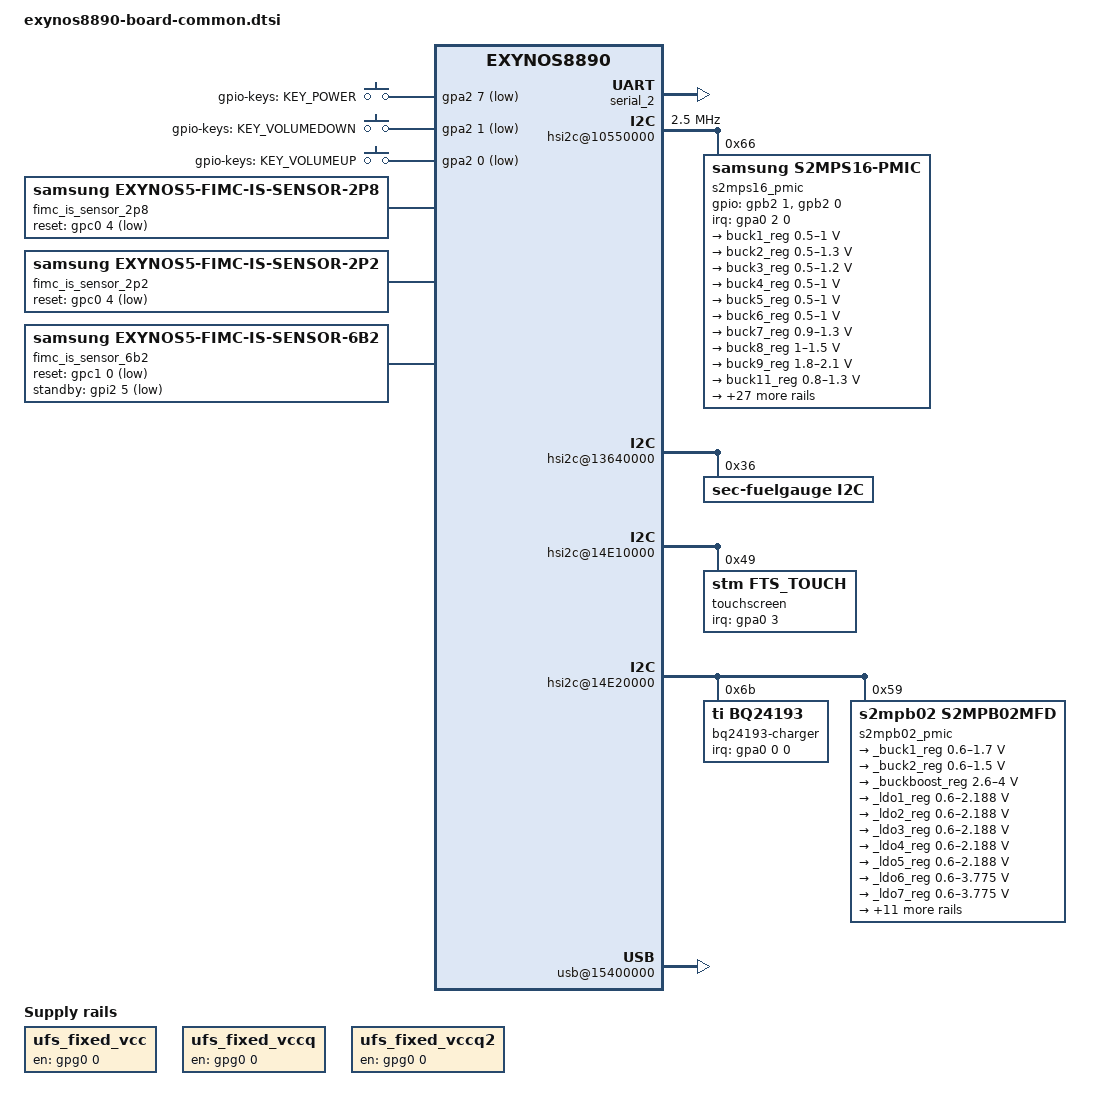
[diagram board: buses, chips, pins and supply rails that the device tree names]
/*
 * SAMSUNG EXYNOS8890 board device tree source
 *
 * Copyright (c) 2013 Samsung Electronics Co., Ltd.
 *		http://www.samsung.com
 *
 * This program is free software; you can redistribute it and/or modify
 * it under the terms of the GNU General Public License version 2 as
 * published by the Free Software Foundation.
*/
#include "exynos8890.dtsi"

/ {
	memory@80000000 {
		device_type = "memory";

		reg = <0x0 0x80000000 0x80000000>;
	};
	memory@880000000 {
		device_type = "memory";

		reg = <0x00000008 0x80000000 0x80000000>;
	};

	reserved-memory {
		#address-cells = <2>;
		#size-cells = <1>;
		ranges;

		common {
			compatible = "exynos5433-ion,common";
			reg = <0x0 0xE0000000 0x600000>;
			id = <0>;
		};

		video {
			compatible = "exynos5433-ion,video";
			secure;
			reg = <0x0 0xE0A00000 0xE400000>;
			id = <11>;
			compat-id = <4 5 6 7>;
		};

		mfc_fw {
			compatible = "exynos5433-ion,mfc_fw";
			secure;
			reg = <0x0 0xE0800000 0x200000>;
			id = <8>;
		};

		mfc_nfw {
			compatible = "exynos5433-ion,mfc_nfw";
			reg = <0x0 0xE0600000 0x200000>;
			id = <12>;
		};
	};

	tmuctrl_0: tmuctrl@10060000 {
		compatible = "samsung,exynos8890-tmu";
		reg = <0x0 0x10060000 0x200>;
		interrupts = <0 77 0>;
		max_trigger_level = <8>;
		non_hw_trigger_levels = <7>;

		/* Throttling Level */
		trigger_levels_0 = <66>;
		trigger_levels_1 = <71>;
		trigger_levels_2 = <76>;
		trigger_levels_3 = <81>;
		trigger_levels_4 = <86>;
		trigger_levels_5 = <91>;
		trigger_levels_6 = <96>;
		trigger_levels_7 = <115>;

		trigger_enable_0 = <ENABLE>;
		trigger_enable_1 = <ENABLE>;
		trigger_enable_2 = <ENABLE>;
		trigger_enable_3 = <ENABLE>;
		trigger_enable_4 = <ENABLE>;
		trigger_enable_5 = <ENABLE>;
		trigger_enable_6 = <ENABLE>;
		trigger_enable_7 = <ENABLE>;

		trigger_type_0 = <THROTTLE_ACTIVE>;
		trigger_type_1 = <THROTTLE_ACTIVE>;
		trigger_type_2 = <THROTTLE_ACTIVE>;
		trigger_type_3 = <THROTTLE_ACTIVE>;
		trigger_type_4 = <THROTTLE_ACTIVE>;
		trigger_type_5 = <THROTTLE_ACTIVE>;
		trigger_type_6 = <THROTTLE_ACTIVE>;
		trigger_type_7 = <HW_TRIP>;

		freq_tab_count = <3>;

		freq_clip_max_0 = <1560000>;
		freq_clip_max_1 = <1040000>;
		freq_clip_max_2 = <728000>;

		cooling_level_0 = <66>;
		cooling_level_1 = <71>;
		cooling_level_2 = <76>;

		hotplug_enable = <1>;
		hotplug_in_threshold = <75>;
		hotplug_out_threshold = <81>;
	};

	tmuctrl_1: tmuctrl@10064000 {
		compatible = "samsung,exynos8890-tmu";
		reg = <0x0 0x10064000 0x200>;
		interrupts = <0 75 0>;
		max_trigger_level = <8>;
		non_hw_trigger_levels = <7>;

		/* Throttling Level */
		trigger_levels_0 = <66>;
		trigger_levels_1 = <76>;
		trigger_levels_2 = <81>;
		trigger_levels_3 = <86>;
		trigger_levels_4 = <91>;
		trigger_levels_5 = <96>;
		trigger_levels_6 = <101>;
		trigger_levels_7 = <115>;

		trigger_enable_0 = <ENABLE>;
		trigger_enable_1 = <ENABLE>;
		trigger_enable_2 = <ENABLE>;
		trigger_enable_3 = <ENABLE>;
		trigger_enable_4 = <ENABLE>;
		trigger_enable_5 = <ENABLE>;
		trigger_enable_6 = <ENABLE>;
		trigger_enable_7 = <ENABLE>;

		trigger_type_0 = <THROTTLE_ACTIVE>;
		trigger_type_1 = <THROTTLE_ACTIVE>;
		trigger_type_2 = <THROTTLE_ACTIVE>;
		trigger_type_3 = <THROTTLE_ACTIVE>;
		trigger_type_4 = <THROTTLE_ACTIVE>;
		trigger_type_5 = <THROTTLE_ACTIVE>;
		trigger_type_6 = <THROTTLE_ACTIVE>;
		trigger_type_7 = <HW_TRIP>;

		freq_tab_count = <4>;

		freq_clip_max_0 = <1274000>;
		freq_clip_max_1 = <1170000>;
		freq_clip_max_2 = <962000>;
		freq_clip_max_3 = <442000>;

		cooling_level_0 = <66>;
		cooling_level_1 = <76>;
		cooling_level_2 = <81>;
		cooling_level_3 = <86>;
	};

	tmuctrl_2: tmuctrl@10068000 {
		compatible = "samsung,exynos8890-tmu";
		reg = <0x0 0x10068000 0x200>;
		interrupts = <0 78 0>;
		max_trigger_level = <8>;
		non_hw_trigger_levels = <7>;

		/* Throttling Level */
		trigger_levels_0 = <66>;
		trigger_levels_1 = <71>;
		trigger_levels_2 = <76>;
		trigger_levels_3 = <81>;
		trigger_levels_4 = <86>;
		trigger_levels_5 = <91>;
		trigger_levels_6 = <96>;
		trigger_levels_7 = <115>;

		trigger_enable_0 = <ENABLE>;
		trigger_enable_1 = <ENABLE>;
		trigger_enable_2 = <ENABLE>;
		trigger_enable_3 = <ENABLE>;
		trigger_enable_4 = <ENABLE>;
		trigger_enable_5 = <ENABLE>;
		trigger_enable_6 = <ENABLE>;
		trigger_enable_7 = <ENABLE>;

		trigger_type_0 = <THROTTLE_ACTIVE>;
		trigger_type_1 = <THROTTLE_ACTIVE>;
		trigger_type_2 = <THROTTLE_ACTIVE>;
		trigger_type_3 = <THROTTLE_ACTIVE>;
		trigger_type_4 = <THROTTLE_ACTIVE>;
		trigger_type_5 = <THROTTLE_ACTIVE>;
		trigger_type_6 = <THROTTLE_ACTIVE>;
		trigger_type_7 = <HW_TRIP>;

		freq_tab_count = <6>;

		freq_clip_max_0 = <600000>;
		freq_clip_max_1 = <600000>;
		freq_clip_max_2 = <546000>;
		freq_clip_max_3 = <419000>;
		freq_clip_max_4 = <260000>;
		freq_clip_max_5 = <260000>;

		cooling_level_0 = <66>;
		cooling_level_1 = <71>;
		cooling_level_2 = <76>;
		cooling_level_3 = <81>;
		cooling_level_4 = <86>;
		cooling_level_5 = <91>;

		/* gpu cooling related table */
		gpu_idx_num = <6>;
		/* flags, driver_data(index), frequency */
		gpu_cooling_table = < 0 0 600000
				      0 1 546000
				      0 2 419000
				      0 3 338000
				      0 4 260000
				      0 5 TABLE_END>;
	};

	tmuctrl_3: tmuctrl@1006C000 {
		compatible = "samsung,exynos8890-tmu";
		reg = <0x0 0x1006C000 0x200>;
		interrupts = <0 76 0>;
		max_trigger_level = <4>;
		non_hw_trigger_levels = <4>;

		/* Throttling Level */
		trigger_levels_0 = <86>;
		trigger_levels_1 = <91>;
		trigger_levels_2 = <96>;
		trigger_levels_3 = <100>;

		trigger_enable_0 = <ENABLE>;
		trigger_enable_1 = <ENABLE>;
		trigger_enable_2 = <ENABLE>;
		trigger_enable_3 = <ENABLE>;

		trigger_type_0 = <THROTTLE_ACTIVE>;
		trigger_type_1 = <THROTTLE_ACTIVE>;
		trigger_type_2 = <THROTTLE_ACTIVE>;
		trigger_type_3 = <THROTTLE_ACTIVE>;

		freq_tab_count = <3>;

		freq_clip_max_0 = <60>;
		freq_clip_max_1 = <15>;
		freq_clip_max_2 = <5>;

		cooling_level_0 = <86>;
		cooling_level_1 = <91>;
		cooling_level_2 = <96>;

		/* isp cooling related table */
		isp_idx_num = <7>;
		/* flags, driver_data(index), frequency */
		isp_cooling_table = < 0 0 63
				      0 1 62
				      0 2 61
				      0 3 60
				      0 4 15
				      0 5  5
				      0 6 TABLE_END>;
	};

	chosen {
		bootargs = "console=ram clk_ignore_unused ess_setup=0x86000000 pmic_info=3 androidboot.hardware=samsungexynos8890";
		linux,initrd-start = <0x82000000>;
		linux,initrd-end = <0x820FFFFF>;
	};

	fixed-rate-clocks {
		oscclk {
			compatible = "samsung,exynos8890-oscclk";
			clock-frequency = <26000000>;
		};
	};

	serial_2: uart@14C30000 {
		/* Enable UART channel for debug port */
		pinctrl-names = "default";
		pinctrl-0 = <&uart2_bus>;
		status = "okay";
	};

	pinctrl@136D0000 {
		g3d_dvs: g3d-dvs {
			samsung,pins = "gpb2-0";
			samsung,pin-function = <0x2>;
		};
	};

	pinctrl@14CC0000 {
		/* Warm reset information from AP */
		pm_wrsti: pm-wrsti {
			samsung,pins = "gpe6-7";
			samsung,pin-con-pdn = <3>;
		};
	};

	pinctrl@10580000 {
		key_power: key-power {
			samsung,pins = "gpa2-7";
			samsung,pin-function = <0xf>;
			samsung,pin-pud = <0>;
			samsung,pin-drv = <0>;
		};

		key_voldown: key-voldown {
			samsung,pins = "gpa2-1";
			samsung,pin-function = <0xf>;
			samsung,pin-pud = <0>;
			samsung,pin-drv = <0>;
		};

		key_volup: key-volup {
			samsung,pins = "gpa2-0";
			samsung,pin-function = <0xf>;
			samsung,pin-pud = <0>;
			samsung,pin-drv = <0>;
		};

		chg_irq: chg-irq {
			samsung,pins = "gpa0-0";
			samsung,pin-function = <0>;
			samsung,pin-pud = <3>;
			samsung,pin-drv = <3>;
		};

	};

	gpio_keys {
		compatible = "gpio-keys";
		#address-cells = <1>;
		#size-cells = <0>;
		pinctrl-names = "default";
		pinctrl-0 = <&key_power &key_voldown &key_volup>;
		button@1 {
			label = "gpio-keys: KEY_POWER";
			interrupts = <7 0 0>;
			interrupt-parent = <&gpa2>;
			linux,code = <116>;
			gpios = <&gpa2 7 0xf>;
			gpio-key,wakeup = <1>;
		};
		button@2 {
			label = "gpio-keys: KEY_VOLUMEDOWN";
			interrupts = <1 0 0>;
			interrupt-parent = <&gpa2>;
			linux,code = <114>;
			gpios = <&gpa2 1 0xf>;
		};
		button@3 {
			label = "gpio-keys: KEY_VOLUMEUP";
			interrupts = <0 0 0>;
			interrupt-parent = <&gpa2>;
			linux,code = <115>;
			gpios = <&gpa2 0 0xf>;
		};
	};

	pinctrl@10580000 {
		pmic_irq: pmic-irq {
			samsung,pins = "gpa0-2";
			samsung,pin-pud = <3>;
			samsung,pin-drv = <3>;
		};

	};

	hsi2c@10550000{
		status = "okay";
		samsung,hs-mode;
		clock-frequency = <2500000>;
		samsung,hsi2c-batcher;
		samsung,need-cs-enb;
		samsung,use-apm;
		samsung,apm-always-clkon;
		s2mps16_pmic@66 {
			compatible = "samsung,s2mps16-pmic";
			reg = <0x66>;
			interrupts = <2 0 0>;
			interrupt-parent = <&gpa0>;
			pinctrl-names = "default";
			ten-bit-address;
			pinctrl-0 = <&pmic_irq &pm_wrsti &g3d_dvs>;
			gpios = <&gpb2 1 0>, <&gpb2 0 0x2>;
			smpl_warn_en = <1>; /* 1 : enable , 0 : disable*/
			/* range of smpl_warn_vth */
			/* 0x00 : 2.1V, 0x20 : 2.3V, 0x40 : 2.5V, 0x60 : 2.7V 0x80 : 2.9V */
			/* 0xA0 : 3.1V, 0xC0 : 3.3V, 0xE0 : 3.5V */
			smpl_warn_vth = <0x80>;
			/* LowBat_Hys[4:3] 00(100mV), 01(200mV), 10(300mV), 11(400mV) */
			smpl_warn_hys = <0x00>;
			adc-on;
			buck_dvs_on;
			cache_data = <1>; /* 1: enable, 0 : disable */
			g3d_en = <1>; /* 1 : enable , 0 : disable */
			dvs_en = <1>; /* 1 : enable , 0 : disable */
			ldo8_7_seq = <0x25>;
			ldo10_9_seq = <0x61>;
			/* RTC: wtsr/smpl */
			wtsr_en = <1>; /* enable */
			smpl_en = <1>; /* enable */
			wtsr_timer_val = <3>;	/* 1000ms */
			smpl_timer_val = <4>;	/* 500ms */
			check_jigon = <0>; /* do not check jigon */
			/* RTC: If it's first boot, reset rtc to 1/1/2014 12:00:00(Wed) */
			init_time,sec = <0>;
			init_time,min = <0>;
			init_time,hour = <12>;
			init_time,mday = <1>;
			init_time,mon = <0>;
			init_time,year = <115>;
			init_time,wday = <4>;

			regulators {
				buck1_reg: BUCK1 {
					regulator-name = "vdd_mif";
					regulator-min-microvolt = <500000>;
					regulator-max-microvolt = <1000000>;
					regulator-always-on;
					regulator-ramp-delay = <12000>;
					regulator-initial-mode = <2>; /* controlled by PWREN_MIF */
				};

				buck2_reg: BUCK2 {
					regulator-name = "vdd_mngs";
					regulator-min-microvolt = <500000>;
					regulator-max-microvolt = <1300000>;
					regulator-always-on;
					regulator-ramp-delay = <11000>;
					regulator-initial-mode = <1>;
				};

				buck3_reg: BUCK3 {
					regulator-name = "vdd_apollo";
					regulator-min-microvolt = <500000>;
					regulator-max-microvolt = <1200000>;
					regulator-always-on;
					regulator-ramp-delay = <11000>;
					regulator-initial-mode = <1>;
				};

				buck4_reg: BUCK4 {
					regulator-name = "vdd_int";
					regulator-min-microvolt = <500000>;
					regulator-max-microvolt = <1000000>;
					regulator-always-on;
					regulator-ramp-delay = <12000>;
					regulator-initial-mode = <2>; /* controlled by PWREN_MIF */
				};

				buck5_reg: BUCK5 {
					regulator-name = "vdd_dispcam";
					regulator-min-microvolt = <500000>;
					regulator-max-microvolt = <1000000>;
					regulator-always-on;
					regulator-ramp-delay = <11000>;
					regulator-initial-mode = <2>; /* controlled by PWREN_MIF */
				};

				buck6_reg: BUCK6 {
					regulator-name = "vdd_g3d";
					regulator-min-microvolt = <500000>;
					regulator-max-microvolt = <1000000>;
					regulator-always-on;
					regulator-ramp-delay = <12000>;
					regulator-initial-mode = <1>;
				};

				buck7_reg: BUCK7 {
					regulator-name = "vdd_mem";
					regulator-min-microvolt = <900000>;
					regulator-max-microvolt = <1300000>;
					regulator-always-on;
					regulator-ramp-delay = <12000>;
					regulator-initial-mode = <3>;
				};

				buck8_reg: BUCK8 {
					regulator-name = "vdd_lldo";
					regulator-min-microvolt = <1000000>;
					regulator-max-microvolt = <1500000>;
					regulator-always-on;
					regulator-ramp-delay = <12000>;
					regulator-initial-mode = <3>;
				};

				buck9_reg: BUCK9 {
					regulator-name = "vdd_mldo";
					regulator-min-microvolt = <1800000>;
					regulator-max-microvolt = <2100000>;
					regulator-always-on;
					regulator-ramp-delay = <12000>;
					regulator-initial-mode = <3>;
				};

				buck11_reg: BUCK11 {
					regulator-name = "vdd_extra";
					regulator-min-microvolt = <800000>;
					regulator-max-microvolt = <1300000>;
					regulator-always-on;
					regulator-ramp-delay = <12000>;
					regulator-initial-mode = <1>;
				};

				ldo1_reg: LDO1 {
					regulator-name = "vdd_ldo1";
					regulator-min-microvolt = <500000>;
					regulator-max-microvolt = <900000>;
					regulator-ramp-delay = <12000>;
					regulator-initial-mode = <3>;
					regulator-always-on;
				};

				ldo2_reg: LDO2 {
					regulator-name = "vqmmc";
					regulator-min-microvolt = <1800000>;
					regulator-max-microvolt = <2800000>;
					regulator-ramp-delay = <12000>;
					regulator-initial-mode = <1>;
					regulator-always-on;
				};

				ldo3_reg: LDO3 {
					regulator-name = "vdd_ldo3";
					regulator-min-microvolt = <1620000>;
					regulator-max-microvolt = <1980000>;
					regulator-ramp-delay = <12000>;
					regulator-initial-mode = <3>;
					regulator-always-on;
				};

				ldo4_reg: LDO4 {
					regulator-name = "vdd_ldo4";
					regulator-min-microvolt = <800000>;
					regulator-max-microvolt = <1110000>;
					regulator-ramp-delay = <12000>;
					regulator-initial-mode = <1>;
					regulator-always-on;
				};

				ldo5_reg: LDO5 {
					regulator-name = "vdd_ldo5";
					regulator-min-microvolt = <1625000>;
					regulator-max-microvolt = <1975000>;
					regulator-ramp-delay = <12000>;
					regulator-always-on;
					regulator-initial-mode = <1>;
				};

				ldo6_reg: LDO6 {
					regulator-name = "vdd_ldo6";
					regulator-min-microvolt = <2250000>;
					regulator-max-microvolt = <3300000>;
					regulator-ramp-delay = <12000>;
					regulator-always-on;
					regulator-initial-mode = <1>;
				};

				ldo7_reg: LDO7 {
					regulator-name = "vdd_ldo7";
					regulator-min-microvolt = <700000>;
					regulator-max-microvolt = <1200000>;
					regulator-ramp-delay = <12000>;
					regulator-always-on;
					regulator-initial-mode = <1>;
				};

				ldo8_reg: LDO8 {
					regulator-name = "vdd_ldo8";
					regulator-min-microvolt = <700000>;
					regulator-max-microvolt = <1000000>;
					regulator-ramp-delay = <12000>;
					regulator-always-on;
					regulator-initial-mode = <1>;
				};

				ldo9_reg: LDO9 {
					regulator-name = "vdd_ldo9";
					regulator-min-microvolt = <700000>;
					regulator-max-microvolt = <1000000>;
					regulator-ramp-delay = <12000>;
					regulator-always-on;
					regulator-initial-mode = <1>;
				};

				ldo10_reg: LDO10 {
					regulator-name = "vdd_ldo10";
					regulator-min-microvolt = <700000>;
					regulator-max-microvolt = <1200000>;
					regulator-ramp-delay = <12000>;
					regulator-always-on;
					regulator-initial-mode = <1>;
				};

				ldo11_reg: LDO11 {
					regulator-name = "vdd_ldo11";
					regulator-min-microvolt = <700000>;
					regulator-max-microvolt = <1000000>;
					regulator-ramp-delay = <12000>;
					regulator-always-on;
					regulator-initial-mode = <1>;
				};

				ldo12_reg: LDO12 {
					regulator-name = "vdd_ldo12";
					regulator-min-microvolt = <1000000>;
					regulator-max-microvolt = <1300000>;
					regulator-ramp-delay = <12000>;
					regulator-always-on;
					regulator-initial-mode = <1>;
				};

				ldo13_reg: LDO13 {
					regulator-name = "vdd_ldo13";
					regulator-min-microvolt = <1000000>;
					regulator-max-microvolt = <1300000>;
					regulator-ramp-delay = <12000>;
					regulator-always-on;
					regulator-initial-mode = <1>;
				};

				ldo25_reg: LDO25 {
					regulator-name = "vdd_ldo25";
					regulator-min-microvolt = <700000>;
					regulator-max-microvolt = <1000000>;
					regulator-ramp-delay = <12000>;
					regulator-boot-on;
					regulator-always-on;
					regulator-initial-mode = <1>;
				};

				ldo26_reg: LDO26 {
					regulator-name = "vdd_ldo26";
					regulator-min-microvolt = <1000000>;
					regulator-max-microvolt = <1200000>;
					regulator-ramp-delay = <12000>;
					regulator-boot-on;
					regulator-always-on;
					regulator-initial-mode = <1>;
				};

				ldo27_reg: LDO27 {
					regulator-name = "vdd_ldo27";
					regulator-min-microvolt = <700000>;
					regulator-max-microvolt = <1300000>;
					regulator-ramp-delay = <12000>;
					regulator-boot-on;
					regulator-always-on;
					regulator-initial-mode = <1>;
				};

				ldo28_reg: LDO28 {
					regulator-name = "vdd_ldo28";
					regulator-min-microvolt = <1800000>;
					regulator-max-microvolt = <3375000>;
					regulator-ramp-delay = <12000>;
					regulator-always-on;
					regulator-initial-mode = <1>;
				};

				ldo29_reg: LDO29 {
					regulator-name = "vdd_ldo29";
					regulator-min-microvolt = <1800000>;
					regulator-max-microvolt = <3375000>;
					regulator-ramp-delay = <12000>;
					regulator-always-on;
					regulator-initial-mode = <1>;
				};

				ldo30_reg: LDO30 {
					regulator-name = "vdd_ldo30";
					regulator-min-microvolt = <1800000>;
					regulator-max-microvolt = <3375000>;
					regulator-ramp-delay = <12000>;
					regulator-always-on;
					regulator-initial-mode = <1>;
				};

				ldo31_reg: LDO31 {
					regulator-name = "vdd_ldo31";
					regulator-min-microvolt = <700000>;
					regulator-max-microvolt = <1300000>;
					regulator-ramp-delay = <12000>;
					regulator-always-on;
					regulator-initial-mode = <1>;
				};

				ldo32_reg: LDO32 {
					regulator-name = "vdd_ldo32";
					regulator-min-microvolt = <1500000>;
					regulator-max-microvolt = <2100000>;
					regulator-ramp-delay = <12000>;
					regulator-initial-mode = <0>;
				};

				ldo33_reg: LDO33 {
					regulator-name = "vdd_ldo33";
					regulator-min-microvolt = <1800000>;
					regulator-max-microvolt = <3375000>;
					regulator-ramp-delay = <12000>;
					regulator-initial-mode = <0>;
				};

				ldo34_reg: LDO34 {
					regulator-name = "vdd_ldo34";
					regulator-min-microvolt = <1800000>;
					regulator-max-microvolt = <3375000>;
					regulator-ramp-delay = <12000>;
					regulator-always-on;
					regulator-initial-mode = <1>;
				};

				ldo35_reg: LDO35 {
					regulator-name = "vdd_ldo35";
					regulator-min-microvolt = <1800000>;
					regulator-max-microvolt = <3375000>;
					regulator-ramp-delay = <12000>;
					regulator-always-on;
					regulator-initial-mode = <1>;
				};

				ldo36_reg: LDO36 {
					regulator-name = "vdd_ldo36";
					regulator-min-microvolt = <1500000>;
					regulator-max-microvolt = <2100000>;
					regulator-ramp-delay = <12000>;
					regulator-always-on;
					regulator-initial-mode = <1>;
				};

				ldo37_reg: LDO37 {
					regulator-name = "vdd_ldo37";
					regulator-min-microvolt = <1500000>;
					regulator-max-microvolt = <2100000>;
					regulator-ramp-delay = <12000>;
					regulator-always-on;
					regulator-initial-mode = <1>;
				};

				ldo38_reg: LDO38 {
					regulator-name = "vdd_ldo38";
					regulator-min-microvolt = <700000>;
					regulator-max-microvolt = <1300000>;
					regulator-ramp-delay = <12000>;
					regulator-always-on;
					regulator-initial-mode = <1>;
				};
			};
		};
	};

	pinctrl@10580000 {
		sub_pmic_irq: sub-pmic-irq {
			samsung,pins = "gpa3-7";
			samsung,pin-function = <0>;
			samsung,pin-pud = <0>;
			samsung,pin-drv = <0>;
		};
		fuel_irq: fuel-irq {
			samsung,pins = "gpa3-4";
			samsung,pin-function = <0>;
			samsung,pin-pud = <0>;
			samsung,pin-drv = <0>;
		};
	};

	ufs@0x155A0000 {
		status = "okay";
		ufs,pmd-attr-mode = "FAST";
		ufs,pmd-attr-lane = /bits/ 8 <1>;
		ufs,pmd-attr-gear = /bits/ 8 <3>;
		ufs,pmd-attr-hs-series = "HS_rate_b";
		ufs-opts-skip-connection-estab;
		ufs-opts-use-seperated-pclk;
		ufs-rx-adv-fine-gran-sup_en = <0>;
		ufs-rx-min-activate-time-cap = <8>;
		ufs-rx-hibern8-time-cap = <5>;
		ufs-pa-granularity = <6>;
		ufs-pa-tacctivate = <6>;
		ufs-pa-hibern8time = <60>;
		ufs-wait-cdr-lock = <0x6e>;

		vcc-supply = <&ufs_fixed_vcc>;
		vccq-supply = <&ufs_fixed_vccq>;
		vccq2-supply = <&ufs_fixed_vccq2>;
		vcc-fixed-regulator;
		vccq-fixed-regulator;
		vccq2-fixed-regulator;

		ufs-cap-clk-gating;
		ufs-cap-hibern8-with-clk-gating;

		phy-init =
			<PA_DBG_OPTION_SUITE 0x2e030103 PMD_ALL UNIPRO_DBG_MIB>,
			<0x00f 0xfa PMD_ALL PHY_PMA_COMN>,
			<0x010 0x82 PMD_ALL PHY_PMA_COMN>,
			<0x011 0x1e PMD_ALL PHY_PMA_COMN>,
			<0x012 0x80 PMD_ALL PHY_PMA_COMN>,
			<0x017 0x94 PMD_ALL PHY_PMA_COMN>,
			<0x034 0x31 PMD_ALL PHY_PMA_TRSV>,
			<0x035 0x40 PMD_ALL PHY_PMA_TRSV>,
			<0x038 0x3f PMD_ALL PHY_PMA_TRSV>,
			<0x049 0x00 PMD_ALL PHY_PMA_TRSV>,
			<0x04a 0x10 PMD_ALL PHY_PMA_TRSV>,
			<0x04c 0x5b PMD_ALL PHY_PMA_TRSV>,
			<0x05c 0x14 PMD_ALL PHY_PMA_TRSV>,
			<PA_DBG_OV_TM true PMD_ALL PHY_PCS_COMN>,
			<0x401 0x09 PMD_ALL PHY_PCS_COMN>,
			<0x27a 0x10 PMD_ALL PHY_PCS_RXTX>,
			<0x30e 0x01 PMD_ALL PHY_PCS_RXTX>,
			<0x32c 0x00 PMD_ALL PHY_PCS_RXTX>,
			<0x362 0x84 PMD_ALL PHY_PCS_RXTX>,
			<0x363 0x00 PMD_ALL PHY_PCS_RXTX>,
			<PA_DBG_OV_TM false PMD_ALL PHY_PCS_COMN>,
			<0 0 0 0>;

		post-phy-init =
			<PA_DBG_MODE 0x1 PMD_ALL UNIPRO_DBG_MIB>,
			<PA_SAVECONFIGTIME 0xbb8 PMD_ALL UNIPRO_STD_MIB>,
			<PA_DBG_MODE 0x0 PMD_ALL UNIPRO_DBG_MIB>,
			<0 0 0 0>;

		calib-of-pwm =
			<PA_DBG_OV_TM true PMD_ALL PHY_PCS_COMN>,
			<0x376 0x00 PMD_PWM PHY_PCS_RXTX>,
			<PA_DBG_OV_TM false PMD_ALL PHY_PCS_COMN>,
			<0 0 0 0>;

		calib-of-hs-rate-a =
			<0x043 0xa6 (PMD_HS_G1_L1 | PMD_HS_G1_L1) PHY_PMA_TRSV>,
			<0x034 0x32 PMD_HS_G3_L1 PHY_PMA_TRSV>,
			<0x035 0x45 PMD_HS_G3_L1 PHY_PMA_TRSV>,
			<0x037 0x43 PMD_HS_G3_L1 PHY_PMA_TRSV>,
			<0x41a 0x01 PMD_HS_G3_L1 PHY_PCS_COMN>,
			<0 0 0 0>;

		calib-of-hs-rate-b =
			<0x043 0xa6 (PMD_HS_G1_L1 | PMD_HS_G2_L1) PHY_PMA_TRSV>,
			<0x034 0x32 PMD_HS_G3_L1 PHY_PMA_TRSV>,
			<0x035 0x5D PMD_HS_G3_L1 PHY_PMA_TRSV>,
			<0x037 0x43 PMD_HS_G3_L1 PHY_PMA_TRSV>,
			<0x41a 0x01 PMD_HS_G3_L1 PHY_PCS_COMN>,
			<0 0 0 0>;

		post-calib-of-pwm =
			<PA_DBG_OV_TM true PMD_ALL PHY_PCS_COMN>,
			<0x363 0x00 PMD_PWM PHY_PCS_RXTX>,
			<PA_DBG_OV_TM false PMD_ALL PHY_PCS_COMN>,
			<0 0 0 0>;

		post-calib-of-hs-rate-a =
			<0x04d 0x83 PMD_HS PHY_PMA_TRSV>,
			<0x41a 0x00 (PMD_HS_G3_L1 | PMD_HS_G3_L2) PHY_PCS_COMN>,
			<PA_DBG_OV_TM true PMD_ALL PHY_PCS_COMN>,
			<0x363 0x00 PMD_HS PHY_PCS_RXTX>,
			<PA_DBG_OV_TM false PMD_ALL PHY_PCS_COMN>,
			<0 0 0 0>;

		post-calib-of-hs-rate-b =
			<0x049 0x02 PMD_HS_G3_L1 PHY_PMA_TRSV>,
			<0x04a 0x37 PMD_HS_G3_L1 PHY_PMA_TRSV>,
			<0 0 0 0>;

		pma-restore =
			<0x00f 0xfa PMD_ALL PHY_PMA_COMN>,
			<0x010 0x82 PMD_ALL PHY_PMA_COMN>,
			<0x011 0x1e PMD_ALL PHY_PMA_COMN>,
			<0x012 0x80 PMD_ALL PHY_PMA_COMN>,
			<0x017 0x94 PMD_ALL PHY_PMA_COMN>,
			<0x034 0x32 PMD_HS_G3_L1 PHY_PMA_TRSV>,
			<0x035 0x5D PMD_HS_G3_L1 PHY_PMA_TRSV>,
			<0x037 0x43 PMD_HS_G3_L1 PHY_PMA_TRSV>,
			<0x038 0x3f PMD_ALL PHY_PMA_TRSV>,
			<0x049 0x02 PMD_HS_G3_L1 PHY_PMA_TRSV>,
			<0x04a 0x37 PMD_HS_G3_L1 PHY_PMA_TRSV>,
			<0x04c 0x5b PMD_ALL PHY_PMA_TRSV>,
			<0x05c 0x14 PMD_ALL PHY_PMA_TRSV>,
			<0 0 0 0>;
	};

	ufs_fixed_vcc: fixedregulator@0 {
		       compatible = "regulator-fixed";
		       regulator-name = "ufs-vcc";
		       gpio = <&gpg0 0 0>;
		       enable-active-high;
	};

	ufs_fixed_vccq: fixedregulator@1 {
			compatible = "regulator-fixed";
			regulator-name = "ufs-vccq";
			gpio = <&gpg0 0 0>;
			enable-active-high;
	};

	ufs_fixed_vccq2: fixedregulator@2 {
			 compatible = "regulator-fixed";
			 regulator-name = "ufs-vccq2";
			 gpio = <&gpg0 0 0>;
			 enable-active-high;
			 startup-delay-us = <2000>;
			 endup-delay-us = <2000>;
	};

	pinctrl@10580000 {
		attn_irq: attn-irq {
			samsung,pins = "gpa0-3";
			samsung,pin-function = <0xf>;
			samsung,pin-pud = <0>;
			samsung,pin-drv = <0>;
		};
		attn_input: attn-input {
			samsung,pins = "gpa0-3";
			samsung,pin-function = <0>;
			samsung,pin-pud = <1>;
		};
	};

	pinctrl@14CC0000 {
		tsp_id: tsp-id {
		samsung,pins = "gpe2-4";
		samsung,pin-function = <0x0>;
		samsung,pin-pud = <0>;
		samsung,pin-drv = <0>;
		};
	};

	hsi2c@13640000 {
		status = "okay";
		sec-fuelgauge@36 {
			compatible = "sec-fuelgauge,i2c";
			reg = <0x36>;
			pinctrl-names = "default";
			pinctrl-0 = <&fuel_irq>;
			fuelgauge,fuel_int = <&gpa3 4 0>;
			fuelgauge,fuel_alert_soc = <2>;
			fuelgauge,capacity_max = <990>;
			fuelgauge,capacity_max_margin = <30>;
			fuelgauge,capacity_min = <0>;
			fuelgauge,capacity_calculation_type = <12>;
			fuelgaguge,repeated_fuelalert;
			fuelgauge,type_str = "SDI";
		};
	};

	hsi2c@14E10000 {
		status = "okay";
		touchscreen@49 {
			compatible = "stm,fts_touch";
			reg = <0x49>;
			pinctrl-names = "on_state", "off_state";
			pinctrl-0 = <&attn_irq &tsp_id>;
			pinctrl-1 = <&attn_input>;
			stm,irq_gpio = <&gpa0 3 0>;
			stm,irq_type = <8200>;
			stm,max_coords = <1439 2559>;	/* x y */
			stm,regulator_dvdd = "vdd_ldo32";
			stm,regulator_avdd = "vdd_ldo33";
			stm,project_name = "jungfrau", "espresso8890";
		};
	};

	hsi2c@14E20000 {
		status = "okay";
		bq24193-charger@6b {
			compatible = "ti,bq24193";
			reg = <0x6b>;
			interrupts = <0 0 0>;
			interrupt-parent = <&gpa0>;
			pinctrl-names = "default";
			pinctrl-3 = <&chg_irq>;
			dev_name = "bq24193";
			battery,fuelgauge_name = "sec-fuelgauge";
		};
		s2mpb02_pmic@59 {
			compatible = "s2mpb02,s2mpb02mfd";
			reg = <0x59>;

			s2mpb02,wakeup;
			pinctrl-names = "default";
			pinctrl-0 = <&sub_pmic_irq>;

			regulators {
				_buck1_reg: s2mpb02-buck1 {
					regulator-min-microvolt = <600000>;
					regulator-max-microvolt = <1700000>;
					regulator-always-on;
					regulator-boot-on;
				};

				_buck2_reg: s2mpb02-buck2 {
					regulator-name = "VDD12_CAMCORE";
					regulator-min-microvolt = <600000>;
					regulator-max-microvolt = <1500000>;
				};

				_buckboost_reg: s2mpb02-bb {
					regulator-min-microvolt = <2600000>;
					regulator-max-microvolt = <4000000>;
					regulator-always-on;
					regulator-boot-on;
				};

				_ldo1_reg: s2mpb02-ldo1 {
					regulator-min-microvolt = <600000>;
					regulator-max-microvolt = <2187500>;
					regulator-always-on;
					regulator-boot-on;
				};

				_ldo2_reg: s2mpb02-ldo2 {
					regulator-min-microvolt = <600000>;
					regulator-max-microvolt = <2187500>;
					regulator-always-on;
					regulator-boot-on;
				};

				_ldo3_reg: s2mpb02-ldo3 {
					regulator-min-microvolt = <600000>;
					regulator-max-microvolt = <2187500>;
					regulator-always-on;
					regulator-boot-on;
				};

				_ldo4_reg: s2mpb02-ldo4 {
					regulator-min-microvolt = <600000>;
					regulator-max-microvolt = <2187500>;
					regulator-always-on;
					regulator-boot-on;
				};

				_ldo5_reg: s2mpb02-ldo5 {
					regulator-min-microvolt = <600000>;
					regulator-max-microvolt = <2187500>;
					regulator-always-on;
					regulator-boot-on;
				};

				_ldo6_reg: s2mpb02-ldo6 {
					regulator-min-microvolt = <600000>;
					regulator-max-microvolt = <3775000>;
					regulator-always-on;
					regulator-boot-on;
				};

				_ldo7_reg: s2mpb02-ldo7 {
					regulator-min-microvolt = <600000>;
					regulator-max-microvolt = <3775000>;
					regulator-always-on;
					regulator-boot-on;
				};

				_ldo8_reg: s2mpb02-ldo8 {
					regulator-name = "VDD18_CAMIO";
					regulator-min-microvolt = <1800000>;
					regulator-max-microvolt = <1800000>;
				};

				_ldo9_reg: s2mpb02-ldo9 {
					regulator-name = "VDD18_VTCAMIO";
					regulator-min-microvolt = <1800000>;
					regulator-max-microvolt = <1800000>;
				};

				_ldo10_reg: s2mpb02-ldo10 {
					regulator-min-microvolt = <600000>;
					regulator-max-microvolt = <3775000>;
					regulator-always-on;
					regulator-boot-on;
				};

				_ldo11_reg: s2mpb02-ldo11 {
					regulator-name = "VDDA28_CAMSEN";
					regulator-min-microvolt = <2800000>;
					regulator-max-microvolt = <2800000>;
				};

				_ldo12_reg: s2mpb02-ldo12 {
					regulator-name = "VDD28_CAMAF";
					regulator-min-microvolt = <1800000>;
					regulator-max-microvolt = <3375000>;
				};

				_ldo13_reg: s2mpb02-ldo13 {
					regulator-min-microvolt = <600000>;
					regulator-max-microvolt = <3775000>;
					regulator-always-on;
					regulator-boot-on;
				};

				_ldo14_reg: s2mpb02-ldo14 {
					regulator-name = "VDDA30_VTCAMSEN";
					regulator-min-microvolt = <2800000>;
					regulator-max-microvolt = <3775000>;
				};

				_ldo15_reg: s2mpb02-ldo15 {
					regulator-min-microvolt = <600000>;
					regulator-max-microvolt = <3775000>;
					regulator-always-on;
					regulator-boot-on;
				};

				_ldo16_reg: s2mpb02-ldo16 {
					regulator-min-microvolt = <600000>;
					regulator-max-microvolt = <3775000>;
					regulator-always-on;
					regulator-boot-on;
				};

				_ldo17_reg: s2mpb02-ldo17 {
					regulator-min-microvolt = <600000>;
					regulator-max-microvolt = <3775000>;
					regulator-always-on;
					regulator-boot-on;
				};

				_ldo18_reg: s2mpb02-ldo18 {
					regulator-min-microvolt = <600000>;
					regulator-max-microvolt = <3775000>;
					regulator-always-on;
					regulator-boot-on;
				};
			};

			torch {
				torch1-gpio = "gpc0-1";
				flash1-gpio = "gpc0-3";

				status = "okay";

				leds1 {
					ledname = "leds-sec1";
					id = <0>;
					brightness = <0xC>;
					timeout = <0x3>;
				};

				leds2 {
					ledname = "torch-sec1";
					id = <1>;
					brightness = <0xC>;
					timeout = <0xF>;
				};
			};
		};
	};

	ion {
		compatible = "samsung,exynos5430-ion";
	};

	usb@15400000 {
		status = "okay";

		dwc3 {
			maximum-speed = "super-speed";
			dr_mode = "otg";
			suspend_clk_freq = <66000000>;
		};
	};

	usb_notifier {
		compatible = "samsung,usb-notifier";
		udc = <&udc>;
	};

	ipa_pdata {
		compatible = "samsung,exynos-ipa";

		control_temp = <90>;
		temp_threshold = <30>;
		enabled = <1>;
		tdp = <3500>;
		boost = <1>;
		ros_power = <500>;
		little_weight = <1024>;
		big_weight = <256>;
		gpu_weight = <256>;
		little_max_power = <1000>;
		big_max_power = <6552>;
		gpu_max_power = <3110>;
		hotplug_out_threshold = <10>;
		hotplug_in_threshold = <0>;
		enable_ctlr = <1>;
		ctlr.mult = <2>;
		ctlr.k_i = <1>;
		ctlr.k_d = <0>;
		ctlr.feed_forward = <1>;
		ctlr.integral_reset_value = <0>;
		ctlr.integral_cutoff = <0>;
		ctlr.integral_reset_threshold = <10>;
	};

	fimc_is@14370000 {
		rear_sensor_id = <20>; /* 2P8 */
		front_sensor_id = <7>; /* 6B2 */
		use_module_check;
		skip_cal_loading;
		fimc_is_dvfs {
			#define DVFS_INT_L0 690000
			#define DVFS_INT_L1 680000
			#define DVFS_INT_L2 670000
			#define DVFS_INT_L3 660000
			#define DVFS_INT_L4 650000
			#define DVFS_INT_L5 640000
			#define DVFS_INT_L6 630000
			#define DVFS_INT_L7 620000
			#define DVFS_INT_L8 610000
			#define DVFS_INT_L9 600000
			#define DVFS_INT_L10 468000
			#define DVFS_INT_L11 400000
			#define DVFS_INT_L12 336000
			#define DVFS_INT_L13 255000
			#define DVFS_INT_L14 200000
			#define DVFS_INT_L15 168000
			#define DVFS_INT_L16 127000

			#define DVFS_CAM_L0 690000
			#define DVFS_CAM_L1 680000
			#define DVFS_CAM_L2 670000
			#define DVFS_CAM_L3 660000
			#define DVFS_CAM_L4 650000
			#define DVFS_CAM_L5 640000
			#define DVFS_CAM_L6 630000
			#define DVFS_CAM_L7 620000
			#define DVFS_CAM_L8 610000
			#define DVFS_CAM_L9 600000

			#define DVFS_MIF_L0 1794000
			#define DVFS_MIF_L1 1716000
			#define DVFS_MIF_L2 1539000
			#define DVFS_MIF_L3 1352000
			#define DVFS_MIF_L4 1144000
			#define DVFS_MIF_L5 1014000
			#define DVFS_MIF_L6 845000
			#define DVFS_MIF_L7 676000
			#define DVFS_MIF_L8 546000
			#define DVFS_MIF_L9 421000
			#define DVFS_MIF_L10 286000
			#define DVFS_MIF_L11 208000

			table0 {
				desc = "default Max version";

				default_int = <DVFS_INT_L0>;
				default_cam = <DVFS_CAM_L0>;
				default_mif = <DVFS_MIF_L0>;
				default_i2c = <0>;

				front_preview_int = <DVFS_INT_L0>;
				front_preview_cam = <DVFS_CAM_L0>;
				front_preview_mif = <DVFS_MIF_L6>;
				front_preview_i2c = <0>;

				front_capture_int = <DVFS_INT_L0>;
				front_capture_cam = <DVFS_CAM_L0>;
				front_capture_mif = <DVFS_MIF_L0>;
				front_capture_i2c = <0>;

				front_video_int = <DVFS_INT_L0>;
				front_video_cam = <DVFS_CAM_L0>;
				front_video_mif = <DVFS_MIF_L6>;
				front_video_i2c = <0>;

				front_video_whd_int = <DVFS_INT_L0>;
				front_video_whd_cam = <DVFS_CAM_L0>;
				front_video_whd_mif = <DVFS_MIF_L6>;
				front_video_whd_i2c = <0>;

				front_video_capture_int = <DVFS_INT_L0>;
				front_video_capture_cam = <DVFS_CAM_L0>;
				front_video_capture_mif = <DVFS_MIF_L0>;
				front_video_capture_i2c = <0>;

				front_video_whd_capture_int = <DVFS_INT_L0>;
				front_video_whd_capture_cam = <DVFS_CAM_L0>;
				front_video_whd_capture_mif = <DVFS_MIF_L0>;
				front_video_whd_capture_i2c = <0>;

				front_vt1_int = <DVFS_INT_L0>;
				front_vt1_cam = <DVFS_CAM_L0>;
				front_vt1_mif = <DVFS_MIF_L6>;
				front_vt1_i2c = <0>;

				front_vt2_int = <DVFS_INT_L0>;
				front_vt2_cam = <DVFS_CAM_L0>;
				front_vt2_mif = <DVFS_MIF_L6>;
				front_vt2_i2c = <0>;

				rear_preview_fhd_int = <DVFS_INT_L0>;
				rear_preview_fhd_cam = <DVFS_CAM_L0>;
				rear_preview_fhd_mif = <DVFS_MIF_L6>;
				rear_preview_fhd_i2c = <0>;

				rear_preview_whd_int = <DVFS_INT_L0>;
				rear_preview_whd_cam = <DVFS_CAM_L0>;
				rear_preview_whd_mif = <DVFS_MIF_L6>;
				rear_preview_whd_i2c = <0>;

				rear_preview_uhd_int = <DVFS_INT_L0>;
				rear_preview_uhd_cam = <DVFS_CAM_L0>;
				rear_preview_uhd_mif = <DVFS_MIF_L6>;
				rear_preview_uhd_i2c = <0>;

				rear_capture_int = <DVFS_INT_L0>;
				rear_capture_cam = <DVFS_CAM_L0>;
				rear_capture_mif = <DVFS_MIF_L0>;
				rear_capture_i2c = <0>;

				rear_video_fhd_int = <DVFS_INT_L0>;
				rear_video_fhd_cam = <DVFS_CAM_L0>;
				rear_video_fhd_mif = <DVFS_MIF_L6>;
				rear_video_fhd_i2c = <0>;

				rear_video_whd_int = <DVFS_INT_L0>;
				rear_video_whd_cam = <DVFS_CAM_L0>;
				rear_video_whd_mif = <DVFS_MIF_L6>;
				rear_video_whd_i2c = <0>;

				rear_video_uhd_int = <DVFS_INT_L0>;
				rear_video_uhd_cam = <DVFS_CAM_L0>;
				rear_video_uhd_mif = <DVFS_MIF_L6>;
				rear_video_uhd_i2c = <0>;

				rear_video_fhd_capture_int = <DVFS_INT_L0>;
				rear_video_fhd_capture_cam = <DVFS_CAM_L0>;
				rear_video_fhd_capture_mif = <DVFS_MIF_L0>;
				rear_video_fhd_capture_i2c = <0>;

				rear_video_whd_capture_int = <DVFS_INT_L0>;
				rear_video_whd_capture_cam = <DVFS_CAM_L0>;
				rear_video_whd_capture_mif = <DVFS_MIF_L0>;
				rear_video_whd_capture_i2c = <0>;

				rear_video_uhd_capture_int = <DVFS_INT_L0>;
				rear_video_uhd_capture_cam = <DVFS_CAM_L0>;
				rear_video_uhd_capture_mif = <DVFS_MIF_L0>;
				rear_video_uhd_capture_i2c = <0>;

				dual_preview_int = <DVFS_INT_L0>;
				dual_preview_cam = <DVFS_CAM_L0>;
				dual_preview_mif = <DVFS_MIF_L6>;
				dual_preview_i2c = <0>;

				dual_capture_int = <DVFS_INT_L0>;
				dual_capture_cam = <DVFS_CAM_L0>;
				dual_capture_mif = <DVFS_MIF_L0>;
				dual_capture_i2c = <0>;

				dual_video_int = <DVFS_INT_L0>;
				dual_video_cam = <DVFS_CAM_L0>;
				dual_video_mif = <DVFS_MIF_L6>;
				dual_video_i2c = <0>;

				dual_video_capture_int = <DVFS_INT_L0>;
				dual_video_capture_cam = <DVFS_CAM_L0>;
				dual_video_capture_mif = <DVFS_MIF_L0>;
				dual_video_capture_i2c = <0>;

				preview_high_speed_fps_int = <DVFS_INT_L0>;
				preview_high_speed_fps_cam = <DVFS_CAM_L0>;
				preview_high_speed_fps_mif = <DVFS_MIF_L2>;
				preview_high_speed_fps_i2c = <0>;

				video_high_speed_60fps_int = <DVFS_INT_L0>;
				video_high_speed_60fps_cam = <DVFS_CAM_L0>;
				video_high_speed_60fps_mif = <DVFS_MIF_L6>;
				video_high_speed_60fps_i2c = <0>;

				video_high_speed_120fps_int = <DVFS_INT_L0>;
				video_high_speed_120fps_cam = <DVFS_CAM_L0>;
				video_high_speed_120fps_mif = <DVFS_MIF_L2>;
				video_high_speed_120fps_i2c = <0>;

				video_high_speed_240fps_int = <DVFS_INT_L0>;
				video_high_speed_240fps_cam = <DVFS_CAM_L0>;
				video_high_speed_240fps_mif = <DVFS_MIF_L2>;
				video_high_speed_240fps_i2c = <0>;

				max_int = <DVFS_INT_L0>;
				max_cam = <DVFS_CAM_L0>;
				max_mif = <DVFS_MIF_L0>;
				max_i2c = <0>;
			};

			table1 {
				desc = "DVFS table for HAL3";

				default_int = <DVFS_INT_L0>;
				default_cam = <DVFS_CAM_L0>;
				default_mif = <DVFS_MIF_L0>;
				default_i2c = <0>;

				front_preview_int = <DVFS_INT_L0>;
				front_preview_cam = <DVFS_CAM_L0>;
				front_preview_mif = <DVFS_MIF_L0>;
				front_preview_i2c = <0>;

				front_capture_int = <DVFS_INT_L0>;
				front_capture_cam = <DVFS_CAM_L0>;
				front_capture_mif = <DVFS_MIF_L0>;
				front_capture_i2c = <0>;

				front_video_int = <DVFS_INT_L0>;
				front_video_cam = <DVFS_CAM_L0>;
				front_video_mif = <DVFS_MIF_L0>;
				front_video_i2c = <0>;

				front_video_whd_int = <DVFS_INT_L0>;
				front_video_whd_cam = <DVFS_CAM_L0>;
				front_video_whd_mif = <DVFS_MIF_L0>;
				front_video_whd_i2c = <0>;

				front_video_capture_int = <DVFS_INT_L0>;
				front_video_capture_cam = <DVFS_CAM_L0>;
				front_video_capture_mif = <DVFS_MIF_L0>;
				front_video_capture_i2c = <0>;

				front_video_whd_capture_int = <DVFS_INT_L0>;
				front_video_whd_capture_cam = <DVFS_CAM_L0>;
				front_video_whd_capture_mif = <DVFS_MIF_L0>;
				front_video_whd_capture_i2c = <0>;

				front_vt1_int = <DVFS_INT_L0>;
				front_vt1_cam = <DVFS_CAM_L0>;
				front_vt1_mif = <DVFS_MIF_L0>;
				front_vt1_i2c = <0>;

				front_vt2_int = <DVFS_INT_L0>;
				front_vt2_cam = <DVFS_CAM_L0>;
				front_vt2_mif = <DVFS_MIF_L0>;
				front_vt2_i2c = <0>;

				rear_preview_fhd_int = <DVFS_INT_L0>;
				rear_preview_fhd_cam = <DVFS_CAM_L0>;
				rear_preview_fhd_mif = <DVFS_MIF_L0>;
				rear_preview_fhd_i2c = <0>;

				rear_preview_whd_int = <DVFS_INT_L0>;
				rear_preview_whd_cam = <DVFS_CAM_L0>;
				rear_preview_whd_mif = <DVFS_MIF_L0>;
				rear_preview_whd_i2c = <0>;

				rear_preview_uhd_int = <DVFS_INT_L0>;
				rear_preview_uhd_cam = <DVFS_CAM_L0>;
				rear_preview_uhd_mif = <DVFS_MIF_L0>;
				rear_preview_uhd_i2c = <0>;

				rear_capture_int = <DVFS_INT_L0>;
				rear_capture_cam = <DVFS_CAM_L0>;
				rear_capture_mif = <DVFS_MIF_L0>;
				rear_capture_i2c = <0>;

				rear_video_fhd_int = <DVFS_INT_L0>;
				rear_video_fhd_cam = <DVFS_CAM_L0>;
				rear_video_fhd_mif = <DVFS_MIF_L0>;
				rear_video_fhd_i2c = <0>;

				rear_video_whd_int = <DVFS_INT_L0>;
				rear_video_whd_cam = <DVFS_CAM_L0>;
				rear_video_whd_mif = <DVFS_MIF_L0>;
				rear_video_whd_i2c = <0>;

				rear_video_uhd_int = <DVFS_INT_L0>;
				rear_video_uhd_cam = <DVFS_CAM_L0>;
				rear_video_uhd_mif = <DVFS_MIF_L0>;
				rear_video_uhd_i2c = <0>;

				rear_video_fhd_capture_int = <DVFS_INT_L0>;
				rear_video_fhd_capture_cam = <DVFS_CAM_L0>;
				rear_video_fhd_capture_mif = <DVFS_MIF_L0>;
				rear_video_fhd_capture_i2c = <0>;

				rear_video_whd_capture_int = <DVFS_INT_L0>;
				rear_video_whd_capture_cam = <DVFS_CAM_L0>;
				rear_video_whd_capture_mif = <DVFS_MIF_L0>;
				rear_video_whd_capture_i2c = <0>;

				rear_video_uhd_capture_int = <DVFS_INT_L0>;
				rear_video_uhd_capture_cam = <DVFS_CAM_L0>;
				rear_video_uhd_capture_mif = <DVFS_MIF_L0>;
				rear_video_uhd_capture_i2c = <0>;

				dual_preview_int = <DVFS_INT_L0>;
				dual_preview_cam = <DVFS_CAM_L0>;
				dual_preview_mif = <DVFS_MIF_L0>;
				dual_preview_i2c = <0>;

				dual_capture_int = <DVFS_INT_L0>;
				dual_capture_cam = <DVFS_CAM_L0>;
				dual_capture_mif = <DVFS_MIF_L0>;
				dual_capture_i2c = <0>;

				dual_video_int = <DVFS_INT_L0>;
				dual_video_cam = <DVFS_CAM_L0>;
				dual_video_mif = <DVFS_MIF_L0>;
				dual_video_i2c = <0>;

				dual_video_capture_int = <DVFS_INT_L0>;
				dual_video_capture_cam = <DVFS_CAM_L0>;
				dual_video_capture_mif = <DVFS_MIF_L0>;
				dual_video_capture_i2c = <0>;

				preview_high_speed_fps_int = <DVFS_INT_L0>;
				preview_high_speed_fps_cam = <DVFS_CAM_L0>;
				preview_high_speed_fps_mif = <DVFS_MIF_L0>;
				preview_high_speed_fps_i2c = <0>;

				video_high_speed_60fps_int = <DVFS_INT_L0>;
				video_high_speed_60fps_cam = <DVFS_CAM_L0>;
				video_high_speed_60fps_mif = <DVFS_MIF_L0>;
				video_high_speed_60fps_i2c = <0>;

				video_high_speed_120fps_int = <DVFS_INT_L0>;
				video_high_speed_120fps_cam = <DVFS_CAM_L0>;
				video_high_speed_120fps_mif = <DVFS_MIF_L0>;
				video_high_speed_120fps_i2c = <0>;

				video_high_speed_240fps_int = <DVFS_INT_L0>;
				video_high_speed_240fps_cam = <DVFS_CAM_L0>;
				video_high_speed_240fps_mif = <DVFS_MIF_L0>;
				video_high_speed_240fps_i2c = <0>;

				max_int = <DVFS_INT_L0>;
				max_cam = <DVFS_CAM_L0>;
				max_mif = <DVFS_MIF_L0>;
				max_i2c = <0>;
			};
		};
	};

	fimc_is_sensor_2p8: fimc-is_sensor_2p8@5A {
		compatible = "samsung,exynos5-fimc-is-sensor-2p8";

		pinctrl-names = "pin0", "pin1";
		pinctrl-0 = <&fimc_is_i2c0 &fimc_is_mclk0_in>;
		pinctrl-1 = <&fimc_is_i2c0 &fimc_is_mclk0_fn>;

		position = <0>; /* Rear:0. Front:1 */
		id = <0>; /* sensor node id */
		mclk_ch = <0>;
		sensor_i2c_ch = <0>; /* I2C 0 */
		sensor_i2c_addr = <0x5A>;

		gpio_reset = <&gpc0 4 0x1>; /* sensor reset */
		status = "okay";

		af {
			product_name = <7>; /* ACTUATOR_NAME_AK7345 */
			i2c_addr = <0x18>;
			i2c_ch = <0>; /* I2C 0 */
		};

		flash {
			product_name = <11>; /* FLASH_GPIO */
			flash_first_gpio = <3>;
			flash_second_gpio = <6>;
		};
	};

	fimc_is_sensor_2p2: fimc-is_sensor_2p2@5A {
		compatible = "samsung,exynos5-fimc-is-sensor-2p2";

		pinctrl-names = "pin0", "pin1";
		pinctrl-0 = <&fimc_is_i2c0 &fimc_is_mclk0_in>;
		pinctrl-1 = <&fimc_is_i2c0 &fimc_is_mclk0_fn>;

		position = <0>; /* Rear:0. Front:1 */
		id = <0>; /* sensor node id */
		mclk_ch = <0>;
		sensor_i2c_ch = <0>; /* I2C 0 */
		sensor_i2c_addr = <0x5A>;

		gpio_reset = <&gpc0 4 0x1>; /* sensor reset */
		status = "okay";

		af {
			product_name = <7>; /* ACTUATOR_NAME_AK7345 */
			i2c_addr = <0x18>;
			i2c_ch = <0>; /* I2C 0 */
		};

		flash {
			product_name = <11>; /* FLASH_GPIO */
			flash_first_gpio = <3>;
			flash_second_gpio = <6>;
		};
	};

	fimc_is_sensor_6b2: fimc-is_sensor_6b2@20 {
		compatible = "samsung,exynos5-fimc-is-sensor-6b2";

		pinctrl-names = "pin0", "pin1";
		pinctrl-0 = <&fimc_is_i2c1 &fimc_is_mclk1_in>;
		pinctrl-1 = <&fimc_is_i2c1 &fimc_is_mclk1_fn>;

		position = <1>; /* Rear:0. Front:1 */
		id = <1>; /* sensor node id */
		mclk_ch = <1>;
		sensor_i2c_ch = <1>;
		sensor_i2c_addr = <0x6A>;

		gpio_reset = <&gpc1 0 0x1>;
		gpio_standby = <&gpi2 5 0x1>;
		status = "okay";
	};

	#define SENSOR_SCENARIO_NORMAL		0
	#define SENSOR_SCENARIO_VISION		1
	#define SENSOR_SCENARIO_EXTERNAL	2
	#define SENSOR_SCENARIO_OIS_FACTORY	3
	#define SENSOR_SCENARIO_VIRTUAL		9
	#define FLITE_ID_NOTHING 100

	fimc_is_sensor0: fimc_is_sensor@14000000 {
		scenario = <SENSOR_SCENARIO_NORMAL>;	/* Normal, Vision, OIS etc */
		id = <0>;
		csi_ch = <0>;
		flite_ch = <0>;
		is_bns = <1>;
		status = "okay";
	};

	fimc_is_sensor1: fimc_is_sensor@14100000 {
		scenario = <SENSOR_SCENARIO_NORMAL>;	/* Normal, Vision, OIS etc */
		id = <1>;
		csi_ch = <2>;
		flite_ch = <0>;
		is_bns = <1>;
		status = "okay";
	};

	fimc_is_sensor2: fimc_is_sensor@14010000 {
		scenario = <SENSOR_SCENARIO_NORMAL>;	/* Normal, Vision, OIS etc */
		id = <2>;
		csi_ch = <1>;
		flite_ch = <FLITE_ID_NOTHING>;
		is_bns = <0>;
		status = "okay";
	};

	fimc_is_sensor3: fimc_is_sensor@14020000 {
		scenario = <SENSOR_SCENARIO_NORMAL>;	/* Normal, Vision, OIS etc */
		id = <3>;
		csi_ch = <3>;
		flite_ch = <FLITE_ID_NOTHING>;
		is_bns = <0>;
		status = "okay";
	};
};
